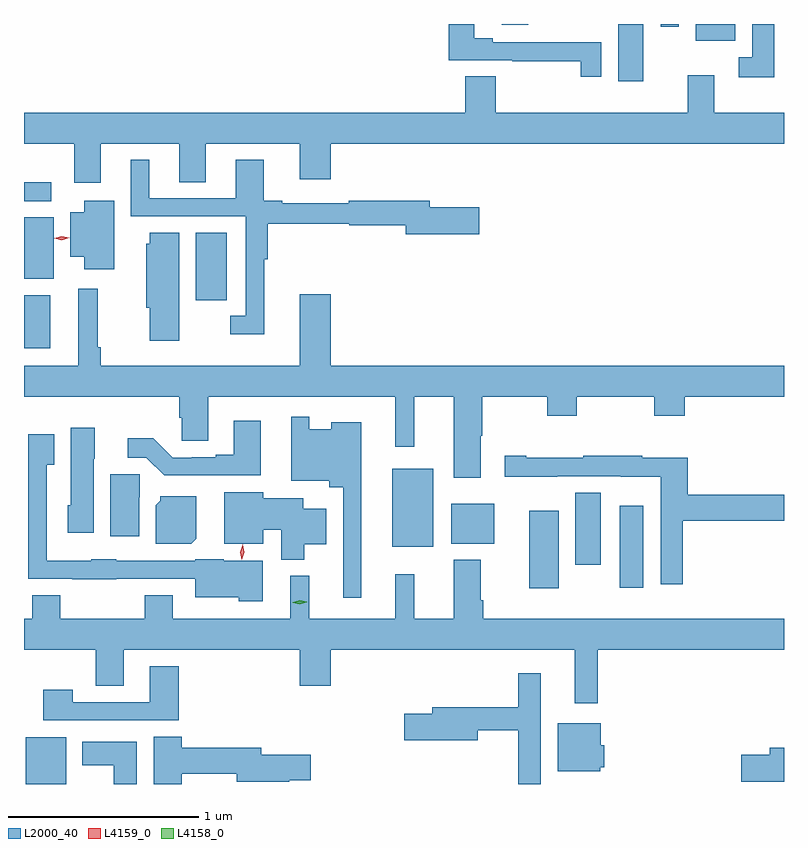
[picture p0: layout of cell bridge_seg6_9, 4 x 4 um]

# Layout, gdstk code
import gdstk
lib = gdstk.Library(unit=1e-6, precision=1e-09)
def R(c, l, rs):  # rectangles x0, y0, x1, y1
    for r in rs: c.add(gdstk.rectangle(r[:2], r[2:], *l))
def P(c, l, *ps):  # polygons
    for p in ps: c.add(gdstk.Polygon(p, *l))
L2000_40 = (2000, 40)
L4158_0 = (4158, 0)
L4159_0 = (4159, 0)

bridge_seg6_9 = lib.new_cell('bridge_seg6_9')
R(bridge_seg6_9, L2000_40, [(1002.728,946.63,1002.94,946.876), (1005.377,947.661,1005.532,948.067), (1005.854,947.664,1005.976,948.094), (1005.62,947.784,1005.754,948.164), (1004.657,947.879,1004.872,948.289), (1004.966,947.894,1005.193,948.106), (1002.718,948.924,1002.856,949.203), (1003.622,949.176,1003.786,949.532), (1002.718,949.288,1002.874,949.613), (1002.718,949.698,1002.862,949.796), (1005.845,950.328,1005.976,950.63), (1006.253,950.543,1006.462,950.63), (1006.068,950.616,1006.164,950.63), (1005.233,950.625,1005.373,950.63)])
P(bridge_seg6_9, L2000_40, [(1006.667,950.63),(1006.551,950.63),(1006.551,950.454),(1006.479,950.454),(1006.479,950.349),(1006.667,950.349)],
  [(1005.756,950.535),(1005.184,950.535),(1005.184,950.555),(1005.088,950.555),(1005.088,950.63),(1004.954,950.63),(1004.954,950.439),(1005.289,950.439),(1005.289,950.434),(1005.648,950.434),(1005.648,950.352),(1005.756,950.352)],
  [(1003.123,950),(1003.535,950),(1003.535,949.798),(1003.675,949.798),(1003.675,950),(1004.168,950),(1004.168,949.812),(1004.332,949.812),(1004.332,950),(1006.718,950),(1006.718,950.164),(1006.351,950.164),(1006.351,950.359),(1006.211,950.359),(1006.211,950.164),(1005.201,950.164),(1005.201,950.354),(1005.041,950.354),(1005.041,950.164),(1002.718,950.164),(1002.718,950),(1002.983,950),(1002.983,949.794),(1003.123,949.794)],
  [(1003.982,949.393),(1004,949.393),(1004,949.578),(1004.43,949.578),(1004.43,949.57),(1004.726,949.57),(1004.726,949.523),(1005.115,949.523),(1005.115,949.665),(1004.854,949.665),(1004.854,949.699),(1004.428,949.699),(1004.428,949.686),(1004.077,949.686),(1004.077,949.699),(1003.981,949.699),(1003.981,949.915),(1003.832,949.915),(1003.832,949.713),(1003.378,949.713),(1003.378,949.915),(1003.28,949.915),(1003.28,949.617),(1003.884,949.617),(1003.884,949.095),(1003.803,949.095),(1003.803,948.998),(1003.982,948.998)],
  [(1003.192,949.699),(1003.034,949.699),(1003.034,949.639),(1002.962,949.639),(1002.962,949.406),(1003.034,949.406),(1003.034,949.338),(1003.192,949.338)],
  [(1003.534,949.532),(1003.379,949.532),(1003.379,949.473),(1003.361,949.473),(1003.361,949.137),(1003.379,949.137),(1003.379,948.963),(1003.534,948.963)],
  [(1005.121,948.464),(1005.129,948.464),(1005.129,948.668),(1005.472,948.668),(1005.472,948.569),(1005.627,948.569),(1005.627,948.668),(1006.036,948.668),(1006.036,948.569),(1006.196,948.569),(1006.196,948.668),(1006.718,948.668),(1006.718,948.832),(1004.332,948.832),(1004.332,949.207),(1004.168,949.207),(1004.168,948.832),(1003.121,948.832),(1003.121,948.928),(1003.106,948.928),(1003.106,949.237),(1003.004,949.237),(1003.004,948.832),(1002.718,948.832),(1002.718,948.668),(1003.535,948.668),(1003.535,948.558),(1003.548,948.558),(1003.548,948.436),(1003.687,948.436),(1003.687,948.668),(1004.672,948.668),(1004.672,948.405),(1004.771,948.405),(1004.771,948.668),(1004.981,948.668),(1004.981,948.243),(1005.121,948.243)],
  [(1004.494,948.535),(1004.336,948.535),(1004.336,948.496),(1004.22,948.496),(1004.22,948.562),(1004.124,948.562),(1004.124,948.227),(1004.324,948.227),(1004.324,948.191),(1004.397,948.191),(1004.397,947.61),(1004.494,947.61)],
  [(1003.963,948.541),(1003.823,948.541),(1003.823,948.364),(1003.727,948.364),(1003.727,948.351),(1003.6,948.351),(1003.6,948.348),(1003.5,948.348),(1003.398,948.451),(1003.263,948.451),(1003.263,948.348),(1003.362,948.348),(1003.456,948.254),(1003.963,948.254)],
  [(1003.084,948.342),(1003.09,948.342),(1003.09,948.505),(1002.965,948.505),(1002.965,948.096),(1002.947,948.096),(1002.947,947.952),(1003.084,947.952)],
  [(1003.975,947.806),(1003.77,947.806),(1003.77,947.812),(1003.62,947.812),(1003.62,947.805),(1003.203,947.805),(1003.203,947.812),(1003.071,947.812),(1003.071,947.806),(1002.837,947.806),(1002.837,948.311),(1002.877,948.311),(1002.877,948.472),(1002.741,948.472),(1002.741,947.709),(1002.971,947.709),(1002.971,947.708),(1003.203,947.708),(1003.203,947.709),(1003.62,947.709),(1003.62,947.612),(1003.848,947.612),(1003.848,947.591),(1003.975,947.591)],
  [(1006.184,948.016),(1006.718,948.016),(1006.718,948.152),(1006.211,948.152),(1006.211,948.348),(1005.971,948.348),(1005.971,948.358),(1005.661,948.358),(1005.661,948.348),(1005.361,948.348),(1005.361,948.358),(1005.249,948.358),(1005.249,948.248),(1005.524,948.248),(1005.524,948.249),(1005.858,948.249),(1005.858,948.248),(1006.068,948.248),(1006.068,947.682),(1006.184,947.682)],
  [(1003.324,948.138),(1003.328,948.138),(1003.328,948.261),(1003.172,948.261),(1003.172,947.934),(1003.324,947.934)],
  [(1004.194,947.891),(1004.308,947.891),(1004.308,948.079),(1004.188,948.079),(1004.188,948.133),(1003.978,948.133),(1003.978,948.166),(1003.772,948.166),(1003.772,947.894),(1003.978,947.894),(1003.978,947.969),(1004.072,947.969),(1004.072,947.81),(1004.194,947.81)],
  [(1003.624,947.92),(1003.624,948.145),(1003.434,948.145),(1003.434,948.12),(1003.412,948.098),(1003.412,947.894),(1003.598,947.894)],
  [(1005.739,947.336),(1006.718,947.336),(1006.718,947.5),(1005.134,947.5),(1005.134,947.596),(1005.121,947.596),(1005.121,947.809),(1004.981,947.809),(1004.981,947.5),(1004.771,947.5),(1004.771,947.734),(1004.672,947.734),(1004.672,947.5),(1004.219,947.5),(1004.219,947.725),(1004.12,947.725),(1004.12,947.5),(1003.501,947.5),(1003.501,947.624),(1003.354,947.624),(1003.354,947.5),(1002.909,947.5),(1002.909,947.624),(1002.761,947.624),(1002.761,947.5),(1002.718,947.5),(1002.718,947.336),(1003.096,947.336),(1003.096,947.146),(1003.243,947.146),(1003.243,947.336),(1004.168,947.336),(1004.168,947.148),(1004.332,947.148),(1004.332,947.336),(1005.617,947.336),(1005.617,947.055),(1005.739,947.055)],
  [(1003.532,947.251),(1003.379,947.251),(1003.379,947.061),(1002.975,947.061),(1002.975,947.125),(1002.819,947.125),(1002.819,946.965),(1003.532,946.965)],
  [(1005.439,947.212),(1005.318,947.212),(1005.318,947.035),(1004.867,947.035),(1004.867,947.001),(1004.718,947.001),(1004.718,946.859),(1005.106,946.859),(1005.106,946.914),(1005.318,946.914),(1005.318,946.63),(1005.439,946.63)],
  [(1005.75,946.719),(1005.772,946.719),(1005.772,946.833),(1005.754,946.833),(1005.754,946.951),(1005.527,946.951),(1005.527,946.697),(1005.75,946.697)],
  [(1003.547,946.684),(1003.838,946.684),(1003.838,946.642),(1004.114,946.642),(1004.114,946.649),(1004.227,946.649),(1004.227,946.784),(1003.966,946.784),(1003.966,946.82),(1003.547,946.82),(1003.547,946.88),(1003.4,946.88),(1003.4,946.63),(1003.547,946.63)],
  [(1003.312,946.852),(1003.025,946.852),(1003.025,946.73),(1003.19,946.73),(1003.19,946.63),(1003.312,946.63)],
  [(1006.718,946.82),(1006.643,946.82),(1006.643,946.784),(1006.494,946.784),(1006.494,946.642),(1006.718,946.642)])
P(bridge_seg6_9, L4158_0, [(1004.169,947.576),(1004.133,947.585),(1004.133,947.585),(1004.133,947.586),(1004.169,947.596),(1004.205,947.588),(1004.205,947.587),(1004.205,947.587)])
P(bridge_seg6_9, L4159_0, [(1002.917,949.493),(1002.877,949.502),(1002.877,949.502),(1002.877,949.502),(1002.917,949.513),(1002.957,949.505),(1002.957,949.504),(1002.957,949.504)],
  [(1003.865,947.809),(1003.865,947.81),(1003.857,947.85),(1003.868,947.89),(1003.868,947.891),(1003.868,947.89),(1003.877,947.85),(1003.865,947.81)])

lib.write_gds('bridge_seg6_9.gds')
